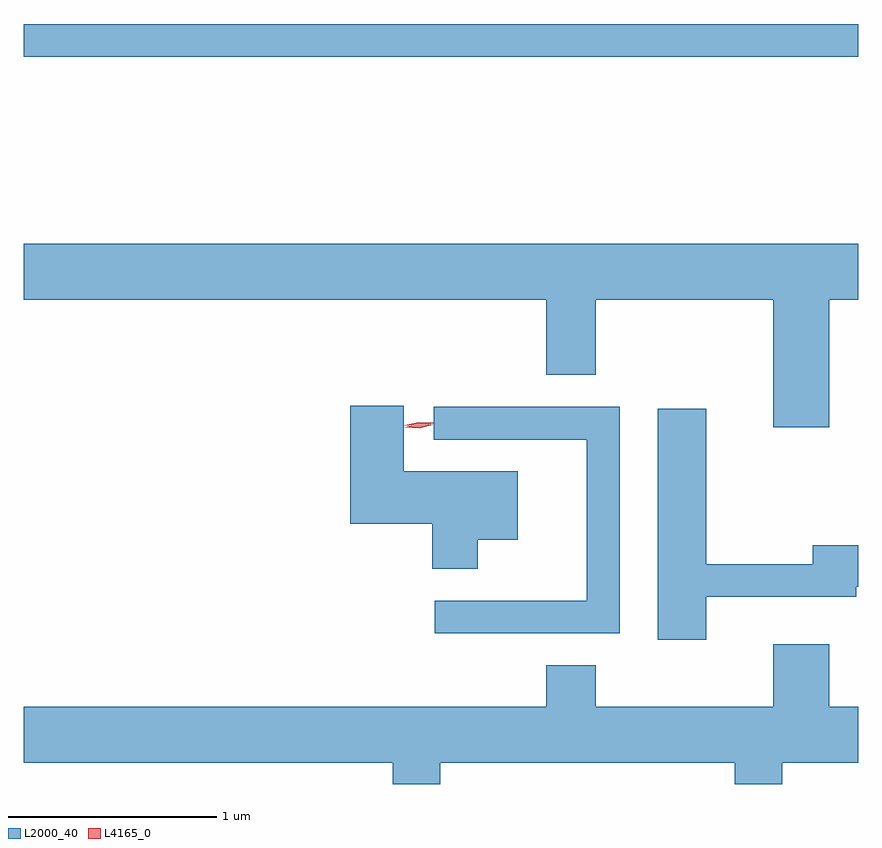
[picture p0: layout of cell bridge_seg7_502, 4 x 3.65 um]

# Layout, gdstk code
import gdstk
lib = gdstk.Library(unit=1e-6, precision=1e-09)
def R(c, l, rs):  # rectangles x0, y0, x1, y1
    for r in rs: c.add(gdstk.rectangle(r[:2], r[2:], *l))
def P(c, l, *ps):  # polygons
    for p in ps: c.add(gdstk.Polygon(p, *l))
L2000_40 = (2000, 40)
L4165_0 = (4165, 0)

bridge_seg7_502 = lib.new_cell('bridge_seg7_502')
R(bridge_seg7_502, L2000_40, [(1290.402,1711.041,1294.402,1711.199)])
P(bridge_seg7_502, L2000_40, [(1294.264,1709.876),(1294.402,1709.876),(1294.402,1710.144),(1290.402,1710.144),(1290.402,1709.876),(1292.906,1709.876),(1292.906,1709.516),(1293.144,1709.516),(1293.144,1709.876),(1293.996,1709.876),(1293.996,1709.266),(1294.264,1709.266)],
  [(1292.579,1708.726),(1292.769,1708.726),(1292.769,1709.054),(1292.224,1709.054),(1292.224,1709.369),(1291.966,1709.369),(1291.966,1708.801),(1292.361,1708.801),(1292.361,1708.586),(1292.579,1708.586)],
  [(1293.259,1709.364),(1292.368,1709.364),(1292.368,1709.206),(1293.101,1709.206),(1293.101,1708.434),(1292.373,1708.434),(1292.373,1708.276),(1293.259,1708.276)],
  [(1293.674,1708.451),(1294.394,1708.451),(1294.394,1708.501),(1294.402,1708.501),(1294.402,1708.699),(1294.186,1708.699),(1294.186,1708.609),(1293.674,1708.609),(1293.674,1709.354),(1293.441,1709.354),(1293.441,1708.246),(1293.674,1708.246)],
  [(1292.399,1707.656),(1293.811,1707.656),(1293.811,1707.554),(1294.039,1707.554),(1294.039,1707.656),(1294.402,1707.656),(1294.402,1707.924),(1294.264,1707.924),(1294.264,1708.224),(1293.996,1708.224),(1293.996,1707.924),(1293.144,1707.924),(1293.144,1708.124),(1292.906,1708.124),(1292.906,1707.924),(1290.402,1707.924),(1290.402,1707.656),(1292.171,1707.656),(1292.171,1707.554),(1292.399,1707.554)])
P(bridge_seg7_502, L4165_0, [(1292.298,1709.261),(1292.231,1709.264),(1292.231,1709.265),(1292.231,1709.265),(1292.296,1709.281),(1292.362,1709.278),(1292.363,1709.278),(1292.362,1709.277)],
  [(1292.297,1709.27),(1292.228,1709.274),(1292.227,1709.274),(1292.228,1709.275),(1292.296,1709.29),(1292.365,1709.286),(1292.366,1709.285),(1292.365,1709.285)])

lib.write_gds('bridge_seg7_502.gds')
